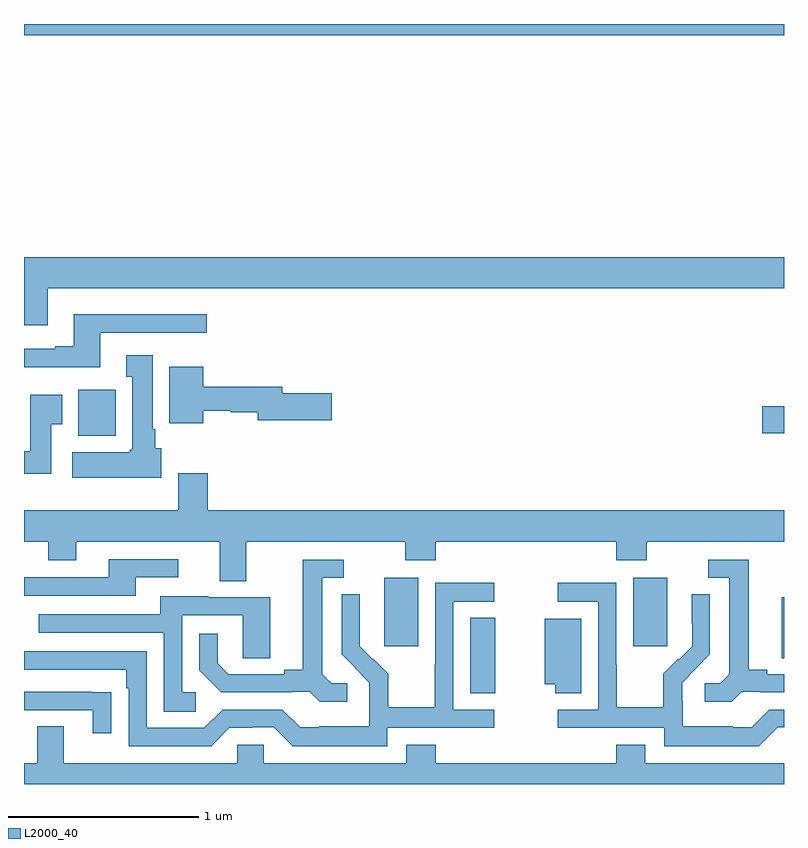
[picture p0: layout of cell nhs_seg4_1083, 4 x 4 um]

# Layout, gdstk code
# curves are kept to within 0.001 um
import gdstk
lib = gdstk.Library(unit=1e-6, precision=1e-09)
def R(c, l, rs):  # rectangles x0, y0, x1, y1
    for r in rs: c.add(gdstk.rectangle(r[:2], r[2:], *l))
def P(c, l, *ps):  # polygons
    for p in ps: c.add(gdstk.Polygon(p, *l))
L2000_40 = (2000, 40)

nhs_seg4_1083 = lib.new_cell('nhs_seg4_1083')
R(nhs_seg4_1083, L2000_40, [(169.349,773.377,169.48,773.774), (170.987,773.563,171,773.883), (168.896,773.625,169.075,773.986), (170.207,773.625,170.386,773.986), (167.285,774.734,167.482,774.976), (170.886,774.745,171,774.887), (167,776.84,171,776.9)])
P(nhs_seg4_1083, L2000_40, [(167.125,775.508),(171,775.508),(171,775.672),(167,775.672),(167,775.314),(167.125,775.314)],
  [(167.401,775.275),(167.962,775.275),(167.962,775.372),(167.261,775.372),(167.261,775.204),(167.165,775.204),(167.165,775.191),(167,775.191),(167,775.094),(167.401,775.094)],
  [(167.722,774.666),(167.692,774.666),(167.692,774.766),(167.677,774.766),(167.677,775.156),(167.537,775.156),(167.537,775.043),(167.57,775.043),(167.57,774.66),(167.557,774.66),(167.557,774.646),(167.253,774.646),(167.253,774.512),(167.722,774.512)],
  [(167.944,774.864),(168.087,774.864),(168.087,774.856),(168.23,774.856),(168.23,774.814),(168.619,774.814),(168.619,774.956),(168.358,774.956),(168.358,774.992),(167.944,774.992),(167.944,775.096),(167.765,775.096),(167.765,774.8),(167.944,774.8)],
  [(167.143,774.793),(167.2,774.793),(167.2,774.949),(167.033,774.949),(167.033,774.652),(167,774.652),(167,774.534),(167.143,774.534)],
  [(168.169,774.176),(169.006,774.176),(169.006,774.077),(169.166,774.077),(169.166,774.176),(170.117,774.176),(170.117,774.077),(170.277,774.077),(170.277,774.176),(171,774.176),(171,774.34),(167.966,774.34),(167.966,774.535),(167.813,774.535),(167.813,774.34),(167,774.34),(167,774.176),(167.128,774.176),(167.128,774.077),(167.275,774.077),(167.275,774.176),(168.029,774.176),(168.029,773.968),(168.169,773.968)],
  [(167.587,773.988),(167.812,773.988),(167.812,774.084),(167.447,774.084),(167.447,773.988),(167,773.988),(167,773.892),(167.587,773.892)],
  [(168.7,773.43),(168.618,773.43),(168.571,773.477),(168.571,773.985),(168.682,773.985),(168.682,774.081),(168.467,774.081),(168.467,773.501),(168.371,773.501),(168.371,773.478),(168.076,773.478),(168.019,773.535),(168.019,773.692),(167.922,773.692),(167.922,773.498),(168.038,773.382),(168.41,773.382),(168.41,773.385),(168.504,773.385),(168.556,773.333),(168.7,773.333)],
  [(170.778,773.385),(170.872,773.385),(170.872,773.382),(171,773.382),(171,773.478),(170.911,773.478),(170.911,773.501),(170.815,773.501),(170.815,774.081),(170.601,774.081),(170.601,773.985),(170.711,773.985),(170.711,773.477),(170.664,773.43),(170.583,773.43),(170.583,773.333),(170.726,773.333)],
  [(170.967,773.199),(171,773.199),(171,773.292),(170.922,773.292),(170.829,773.199),(170.729,773.199),(170.729,773.203),(170.466,773.203),(170.466,773.337),(170.464,773.337),(170.464,773.434),(170.61,773.582),(170.61,773.9),(170.514,773.9),(170.514,773.746),(170.516,773.746),(170.516,773.624),(170.445,773.553),(170.442,773.556),(170.365,773.479),(170.365,773.305),(170.121,773.305),(170.121,773.528),(170.118,773.528),(170.118,773.958),(169.809,773.958),(169.809,773.859),(170.022,773.859),(170.022,773.292),(169.809,773.292),(169.809,773.196),(170.37,773.196),(170.37,773.099),(170.867,773.099)],
  [(168.912,773.196),(169.474,773.196),(169.474,773.292),(169.26,773.292),(169.26,773.859),(169.474,773.859),(169.474,773.958),(169.164,773.958),(169.164,773.528),(169.162,773.528),(169.162,773.305),(168.917,773.305),(168.917,773.479),(168.84,773.556),(168.837,773.553),(168.767,773.624),(168.768,773.9),(168.672,773.9),(168.672,773.582),(168.818,773.434),(168.818,773.337),(168.816,773.337),(168.816,773.203),(168.553,773.203),(168.553,773.199),(168.453,773.199),(168.36,773.292),(168.045,773.292),(167.949,773.196),(167.646,773.196),(167.646,773.598),(167,773.598),(167,773.502),(167.537,773.502),(167.537,773.405),(167.55,773.405),(167.55,773.1),(167.985,773.1),(168.081,773.196),(168.2,773.196),(168.2,773.199),(168.315,773.199),(168.415,773.099),(168.912,773.099)],
  [(167.905,773.382),(167.832,773.382),(167.832,773.787),(168.15,773.787),(168.15,773.563),(168.295,773.563),(168.295,773.883),(167.971,773.883),(167.971,773.887),(167.717,773.887),(167.717,773.793),(167.077,773.793),(167.077,773.697),(167.736,773.697),(167.736,773.281),(167.905,773.281)],
  [(169.933,773.77),(169.742,773.77),(169.742,773.426),(169.795,773.426),(169.795,773.377),(169.933,773.377)],
  [(167.459,773.384),(167.357,773.384),(167.357,773.385),(167,773.385),(167,773.289),(167.363,773.289),(167.363,773.166),(167.459,773.166)],
  [(171,773.008),(170.269,773.008),(170.269,773.107),(170.117,773.107),(170.117,773.008),(169.166,773.008),(169.166,773.107),(169.013,773.107),(169.013,773.008),(168.261,773.008),(168.261,773.106),(168.123,773.106),(168.123,773.008),(167.209,773.008),(167.209,773.203),(167.069,773.203),(167.069,773.008),(167,773.008),(167,772.9),(171,772.9)])

lib.write_gds('nhs_seg4_1083.gds')
